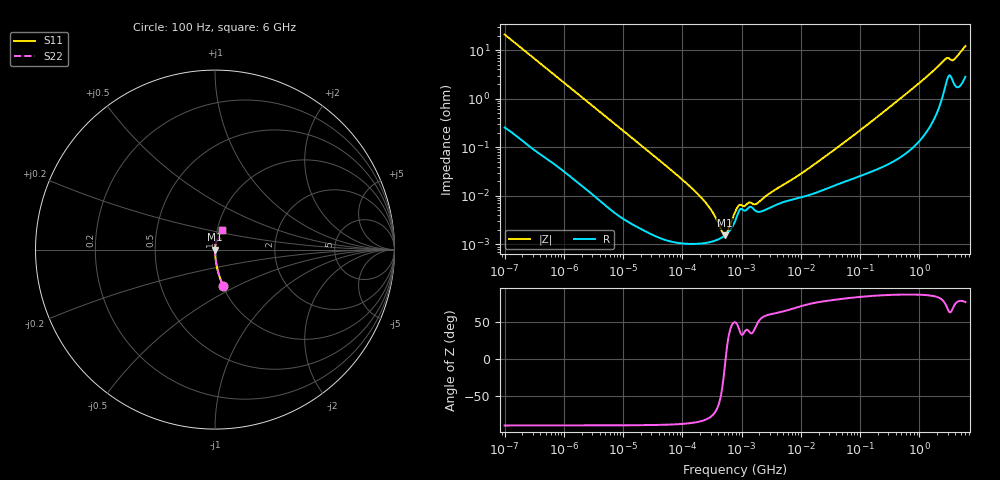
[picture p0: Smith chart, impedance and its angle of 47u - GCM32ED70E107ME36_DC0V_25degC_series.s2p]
!Murata Part Number: GCM32ED70E107ME36
!These Parameters are Measured in Series Mode Connection
!  o--ll--o
!Port1  Port2
!  o------o
!Operation Temp=25[degC], DC Bias Voltage=0[V]
!Freq. Start=100[Hz] Stop=6[GHz], 401[Steps]
!Data Generated on Aug 1, 2022
# Hz S RI R 50
!Freq.(Hz) S11(Real) S11(Imag) S21(Real) S21(Imag) S12(Real) S12(Imag) S22(Real) S22(Imag)
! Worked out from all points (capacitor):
!   401 points, 100 Hz to 6 GHz, reference 50 ohm
!   read as one part in series: C = 75.4 uF near 109.4 Hz
!   lowest |Z| = 1.54 mohm at 517.7 kHz (marker M1)
!   series resonance near 536.9 kHz, so ESL is about 1.2 nH
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100  0.0447 -0.2006  0.9553 0.2006  0.9553 0.2006  0.0447 -0.2006
187.1696  0.014 -0.1114  0.986 0.1114  0.986 0.1114  0.014 -0.1114
334.9849  0.00484 -0.0632  0.9952 0.0632  0.9952 0.0632  0.00484 -0.0632
717.1279  0.00132 -0.0298  0.9987 0.0298  0.9987 0.0298  0.00132 -0.0298
2008.354  0.000277 -0.0108  0.9997 0.0108  0.9997 0.0108  0.000277 -0.0108
40334.87  1.4e-05 -0.000546  1 0.000546  1 0.000546  1.4e-05 -0.000546
94437.15  1.05e-05 -0.000228  1 0.000228  1 0.000228  1.05e-05 -0.000228
193316.5  1.03e-05 -0.000101  1 0.000101  1 0.000101  1.03e-05 -0.000101
221108.3  1.05e-05 -8.41e-05  1 8.41e-05  1 8.41e-05  1.05e-05 -8.41e-05
517687  1.51e-05 -3.17e-06  1 3.17e-06  1 3.17e-06  1.51e-05 -3.17e-06
774596.7  2.96e-05 3.45e-05  1 -3.45e-05  1 -3.45e-05  2.96e-05 3.45e-05
2594782  5.21e-05 8.45e-05  0.9999 -8.45e-05  0.9999 -8.45e-05  5.21e-05 8.45e-05
7599586  8.5e-05 0.000211  0.9999 -0.000211  0.9999 -0.000211  8.5e-05 0.000211
1.555665e7  0.000108 0.000398  0.9999 -0.000398  0.9999 -0.000398  0.000108 0.000398
6.817316e7  0.000216 0.00154  0.9998 -0.00154  0.9998 -0.00154  0.000216 0.00154
3.124326e8  0.000501 0.00662  0.9995 -0.00662  0.9995 -0.00662  0.000501 0.00662
1.197065e9  0.00237 0.0252  0.9976 -0.0252  0.9976 -0.0252  0.00237 0.0252
2.679998e9  0.0193 0.0595  0.9807 -0.0595  0.9807 -0.0595  0.0193 0.0595
2.931063e9  0.0274 0.0611  0.9726 -0.0611  0.9726 -0.0611  0.0274 0.0611
3.505958e9  0.0289 0.053  0.9711 -0.053  0.9711 -0.053  0.0289 0.053
3.8344e9  0.0236 0.0576  0.9764 -0.0576  0.9764 -0.0576  0.0236 0.0576
6e9  0.0403 0.1101  0.9597 -0.1101  0.9597 -0.1101  0.0403 0.1101
